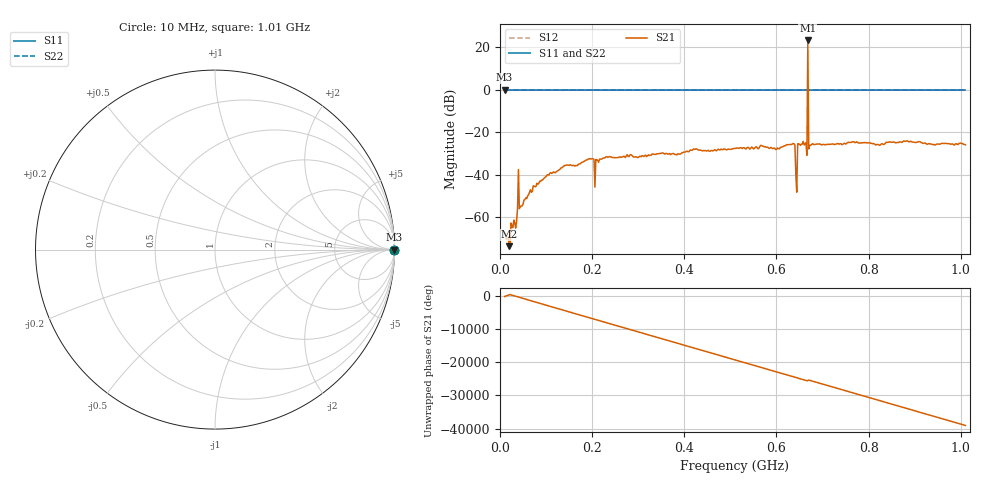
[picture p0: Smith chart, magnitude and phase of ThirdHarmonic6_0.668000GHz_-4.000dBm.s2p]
! 8/15/2025 10:13:09 PM
! C:\ANRITSUVNA\TEMP\TEMP.S2P
! CHANNEL.1
! TR.MEASUREMENT
! RAW.DATA
! RF.CORRECTION.OFF
! AVERAGING.OFF
! IF.BANDWIDTH: 5KHZ
! SWEEPTYPE:  FREQ.SWEEP(Linear)
! Reference Plane Port Info
! PORT:  PORT1  PORT2
! DISTANCE:  0  m  0  m
! TIME:  0  s  0  s
! PHASE.OFFSET:  0  deg.  0  deg.
! LOSS:  0  dB  0  dB
! REF.LOSS:  0  dB  0  dB
! REF.FREQ:  0  Hz  0  Hz
! Power Info
! POWER:  -20  dBm  -20  dBm
! EFF.POWER:  -20  dBm  -20  dBm
! SOURCE.ATTEN:  0  dB  0  dB
! TEST.ATTEN:  0  dB  0  dB
# GHZ S RI R 50.0
! FREQ.GHZ  S11RE  S11IM  S21RE  S21IM  S12RE  S12IM  S22RE  S22IM
!; PortSelection: Port_12
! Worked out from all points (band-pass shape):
!   501 points, 10 MHz to 1.01 GHz, reference 50 ohm
!   highest |S21| = 23.11 dB at 668 MHz (marker M1); lowest = -73.5 dB at 20 MHz (marker M2)
!   |S21| within 3 dB of the highest: 667.8888 MHz to 668.1176 MHz (228.8 kHz wide, 0.0343 % of centre)
!   lowest |S11| = 0.0 dB at 10 MHz (marker M3)
!   |S11| at or under -10 dB: nowhere
!   |S22| runs from 0.0 to 0.0 dB; largest |S21 - S12| = 14
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0.01  1 0  -0.000429 -3.92e-05  1 0  1 0
0.02  1 0  0.000177 -0.000114  1 0  1 0
0.032  1 0  0.000712 0.000108  1 0  1 0
0.042  1 0  0.00115 -0.00112  1 0  1 0
0.046  1 0  -0.00161 0.000954  1 0  1 0
0.106  1 0  -0.00702 -0.00693  1 0  1 0
0.178  1 0  -0.0193 -0.00412  1 0  1 0
0.344  1 0  0.0301 -0.00845  1 0  1 0
0.51  1 0  -0.0377 0.0174  1 0  1 0
0.636  1 0  -0.0369 0.0401  1 0  1 0
0.64  1 0  0.0412 -0.0283  1 0  1 0
0.644  1 0  -0.0035 -0.00173  1 0  1 0
0.646  1 0  0.00701 0.0529  1 0  1 0
0.65  1 0  0.012 -0.0507  1 0  1 0
0.662  1 0  -0.0509 0.017  1 0  1 0
0.664  1 0  0.00967 0.056  1 0  1 0
0.668  1 0  10.25 9.971  1 0  1 0
0.672  1 0  -0.022 0.0433  1 0  1 0
0.674  1 0  0.04 0.0299  1 0  1 0
0.678  1 0  -0.0353 -0.0408  1 0  1 0
0.844  1 0  0.0476 0.0341  1 0  1 0
1.01  1 0  -0.0502 -0.00529  1 0  1 0
